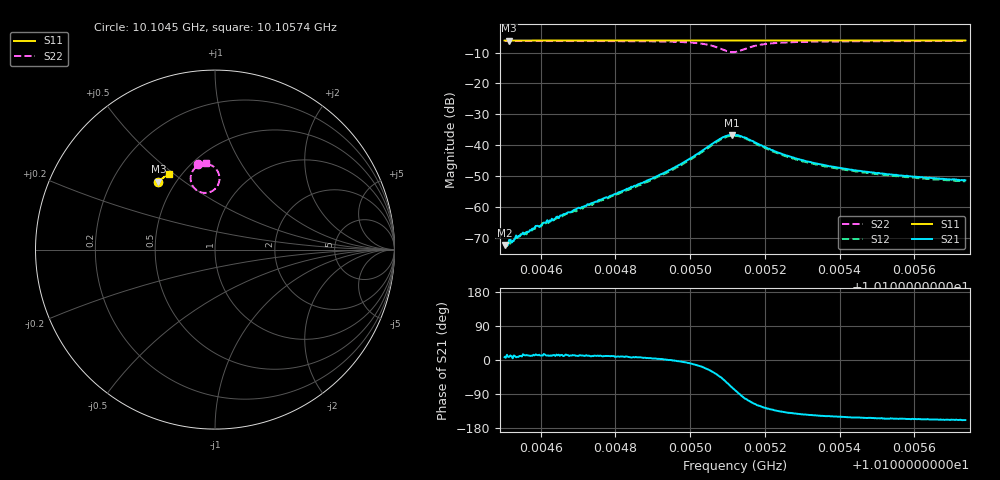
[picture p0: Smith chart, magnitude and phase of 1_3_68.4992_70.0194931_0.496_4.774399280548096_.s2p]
#  HZ  S  RI  R  50.00
! Rohde & Schwarz Vector Network Analyzer
! Rohde-Schwarz,ZNB20-2Port,1311601062101988,3.16
! Created: UTC 3/20/2024, 4:48:37 PM
! freq[Hz]  re:S11  im:S11  re:S21  im:S21  re:S12  im:S12  re:S22  im:S22
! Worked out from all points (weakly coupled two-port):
!   401 points, 10.1045 GHz to 10.10574 GHz, reference 50 ohm
!   highest |S21| = -36.71 dB at 10.10511 GHz (marker M1); lowest = -72.5 dB at 10.1045 GHz (marker M2)
!   lowest |S11| = -6.1 dB at 10.10452 GHz (marker M3), VSWR 2.94, Z = 20.2 + j20.2 ohm
!   |S11| at or under -10 dB: nowhere
!   |S22| runs from -9.9 to -6.3 dB; largest |S21 - S12| = 0.0017
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1.0104503e10  -0.3166 0.3776  0.000236 3.26e-05  0.000239 7.86e-05  -0.0972 0.4754
1.0104516e10  -0.3158 0.3782  0.000289 4.29e-05  0.000214 9.06e-05  -0.096 0.4757
1.0104553e10  -0.3143 0.3796  0.000367 9.93e-05  0.000356 9.13e-05  -0.0926 0.4762
1.0104596e10  -0.3122 0.3814  0.000458 0.000112  0.000463 0.000139  -0.0885 0.4771
1.0104611e10  -0.3116 0.3821  0.000533 0.000135  0.000509 0.000174  -0.0869 0.4773
1.0104627e10  -0.3108 0.3827  0.000566 0.000117  0.00057 0.000174  -0.0853 0.4775
1.010471e10  -0.307 0.3861  0.00097 0.000196  0.000907 0.000308  -0.0758 0.4787
1.0104852e10  -0.3003 0.3917  0.00217 0.000263  0.00201 0.000436  -0.0536 0.4788
1.0104917e10  -0.2971 0.3942  0.00323 0.000172  0.00307 0.00042  -0.0377 0.4762
1.0104981e10  -0.2939 0.3968  0.00514 -0.000496  0.00496 -1.66e-05  -0.0136 0.466
1.0105031e10  -0.2913 0.3986  0.00759 -0.00239  0.00745 -0.00161  0.0127 0.44
1.010508e10  -0.2887 0.3998  0.00899 -0.00882  0.00941 -0.00762  0.0195 0.3668
1.0105099e10  -0.288 0.4003  0.00702 -0.0122  0.00804 -0.011  -0.00694 0.332
1.0105111e10  -0.2876 0.4005  0.00463 -0.0138  0.00595 -0.0127  -0.0365 0.3181
1.010512e10  -0.2873 0.4007  0.00262 -0.0143  0.00393 -0.0135  -0.0608 0.3161
1.0105154e10  -0.2862 0.4022  -0.00344 -0.012  -0.00225 -0.012  -0.124 0.3543
1.01052e10  -0.2841 0.4043  -0.00548 -0.00756  -0.00454 -0.0077  -0.1344 0.4121
1.0105259e10  -0.2814 0.4066  -0.00504 -0.00446  -0.00446 -0.00468  -0.119 0.4457
1.0105327e10  -0.2781 0.4092  -0.00427 -0.00294  -0.00388 -0.00318  -0.1028 0.4617
1.0105422e10  -0.2732 0.4127  -0.00354 -0.00196  -0.00322 -0.00219  -0.0864 0.4717
1.0105533e10  -0.2678 0.4166  -0.00303 -0.00142  -0.00276 -0.00163  -0.0724 0.4775
1.0105737e10  -0.2575 0.4238  -0.00249 -0.000978  -0.0023 -0.00116  -0.0524 0.4828
